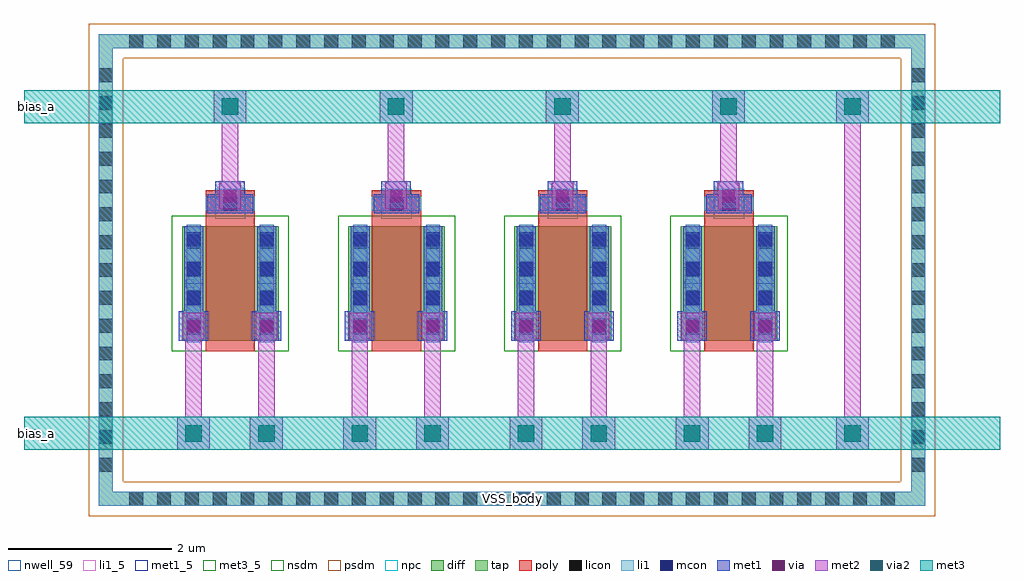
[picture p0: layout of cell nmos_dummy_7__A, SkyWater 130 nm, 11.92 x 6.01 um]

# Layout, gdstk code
import gdstk
lib = gdstk.Library(unit=1e-6, precision=1e-09)
def R(c, l, rs):  # rectangles x0, y0, x1, y1
    for r in rs: c.add(gdstk.rectangle(r[:2], r[2:], *l))
def A(c, l, x, y, w, h, nx, ny, dx, dy):  # array of equal rectangles
    R(c, l, [(x+i*dx, y+j*dy, x+i*dx+w, y+j*dy+h) for i in range(nx) for j in range(ny)])
nwell_59 = (64, 59)
diff = (65, 20)
tap = (65, 44)
poly = (66, 20)
licon = (66, 44)
li1_5 = (67, 5)
li1 = (67, 20)
mcon = (67, 44)
met1_5 = (68, 5)
met1 = (68, 20)
via = (68, 44)
met2 = (69, 20)
via2 = (69, 44)
met3_5 = (70, 5)
met3 = (70, 20)
nsdm = (93, 44)
psdm = (94, 20)
npc = (95, 20)

sky130_fd_pr__nfet_01v8_ = lib.new_cell('sky130_fd_pr__nfet_01v8_RUA5M6')
R(sky130_fd_pr__nfet_01v8_, diff, [(-0.59,-0.855,0.59,0.545)])
R(sky130_fd_pr__nfet_01v8_, poly, [(-0.3,-0.985,0.3,0.985)])
A(sky130_fd_pr__nfet_01v8_, licon, -0.53, -0.75, 0.17, 0.17, 1, 4, 0, 0.34)
A(sky130_fd_pr__nfet_01v8_, licon, 0.36, -0.75, 0.17, 0.17, 1, 4, 0, 0.34)
R(sky130_fd_pr__nfet_01v8_, licon, [(-0.085,0.735,0.085,0.905)])
R(sky130_fd_pr__nfet_01v8_, li1, [(-0.53,-0.875,-0.36,0.565), (0.36,-0.875,0.53,0.565), (-0.3,0.735,0.3,0.905)])
A(sky130_fd_pr__nfet_01v8_, mcon, -0.53, -0.78, 0.17, 0.17, 1, 4, 0, 0.36)
A(sky130_fd_pr__nfet_01v8_, mcon, 0.36, -0.78, 0.17, 0.17, 1, 4, 0, 0.36)
R(sky130_fd_pr__nfet_01v8_, mcon, [(-0.085,0.735,0.085,0.905)])
R(sky130_fd_pr__nfet_01v8_, met1, [(-0.56,-0.855,-0.33,0.545), (0.33,-0.855,0.56,0.545), (-0.28,0.705,0.28,0.935)])
R(sky130_fd_pr__nfet_01v8_, nsdm, [(-0.715,-0.98,0.715,0.67)])
R(sky130_fd_pr__nfet_01v8_, npc, [(-0.185,0.635,0.185,1.005)])
sky130_fd_pr__nfet_01v8_.add(gdstk.Label('D', (-0.445,-0.155), layer=67, texttype=5))
sky130_fd_pr__nfet_01v8_.add(gdstk.Label('S', (0.445,-0.155), layer=67, texttype=5))
sky130_fd_pr__nfet_01v8_.add(gdstk.Label('G', (0,0.82), layer=67, texttype=5))

nfet_01v8_w1p4_l0p6_m4__ = lib.new_cell('nfet_01v8_W1p4_L0p6_m4__nf1_gtop_sdfull_ng')
R(nfet_01v8_w1p4_l0p6_m4__, nwell_59, [(0.05,0.78,0.15,0.88)])
R(nfet_01v8_w1p4_l0p6_m4__, met1_5, [(0.03,0.83,0.26,1.03), (0.92,0.83,1.15,1.03), (0.31,1.69,0.87,1.92)])
R(nfet_01v8_w1p4_l0p6_m4__, met1, [(0.03,0.83,0.26,1.03), (0.92,0.83,1.15,1.03), (0.31,1.69,0.87,1.92)])
nfet_01v8_w1p4_l0p6_m4__.add(gdstk.Reference(sky130_fd_pr__nfet_01v8_, (0.59,0.985)))
nfet_01v8_w1p4_l0p6_m4__.add(gdstk.Label('D', (0.145,0.93), layer=68, texttype=5))
nfet_01v8_w1p4_l0p6_m4__.add(gdstk.Label('S', (1.035,0.93), layer=68, texttype=5))
nfet_01v8_w1p4_l0p6_m4__.add(gdstk.Label('G', (0.59,1.805), layer=68, texttype=5))
nfet_01v8_w1p4_l0p6_m4__.add(gdstk.Label('B', (0.1,0.83), layer=64, texttype=59))

nmos_dummy_7__a = lib.new_cell('nmos_dummy_7__A')
R(nmos_dummy_7__a, tap, [(-0.885,-1.885,9.205,-1.715), (-0.885,-1.715,-0.715,3.705), (9.035,-1.715,9.205,3.705), (-0.885,3.705,9.205,3.875)])
A(nmos_dummy_7__a, licon, -0.515, -1.885, 0.17, 0.17, 28, 2, 0.34, 5.59)
A(nmos_dummy_7__a, licon, -0.885, -1.47, 0.17, 0.17, 1, 15, 0, 0.34)
A(nmos_dummy_7__a, licon, 9.035, -1.47, 0.17, 0.17, 1, 15, 0, 0.34)
R(nmos_dummy_7__a, li1_5, [(4.11,-1.85,4.21,-1.75)])
R(nmos_dummy_7__a, li1, [(-0.885,-1.885,9.205,-1.715), (-0.885,-1.715,-0.715,3.705), (9.035,-1.715,9.205,3.705), (-0.885,3.705,9.205,3.875)])
A(nmos_dummy_7__a, met1, 0.535, 1.72, 0.36, 0.36, 4, 1, 2.03, 0)
R(nmos_dummy_7__a, met1, [(0.09,0.13,0.45,0.49), (0.98,0.13,1.34,0.49), (2.12,0.13,2.48,0.49), (3.01,0.13,3.37,0.49), (4.15,0.13,4.51,0.49), (5.04,0.13,5.4,0.49), (6.18,0.13,6.54,0.49), (7.07,0.13,7.43,0.49)])
A(nmos_dummy_7__a, via, 0.64, 1.825, 0.15, 0.15, 4, 1, 2.03, 0)
R(nmos_dummy_7__a, via, [(0.195,0.235,0.345,0.385), (1.085,0.235,1.235,0.385), (2.225,0.235,2.375,0.385), (3.115,0.235,3.265,0.385), (4.255,0.235,4.405,0.385), (5.145,0.235,5.295,0.385), (6.285,0.235,6.435,0.385), (7.175,0.235,7.325,0.385)])
A(nmos_dummy_7__a, met2, 0.585, 1.74, 0.26, 0.32, 4, 1, 2.03, 0)
A(nmos_dummy_7__a, met2, 0.615, 2.06, 0.2, 0.73, 4, 1, 2.03, 0)
A(nmos_dummy_7__a, met2, 0.515, 2.79, 0.4, 0.4, 4, 1, 2.03, 0)
R(nmos_dummy_7__a, met2, [(0.07,-1.2,0.47,-0.8), (0.96,-1.2,1.36,-0.8), (2.1,-1.2,2.5,-0.8), (2.99,-1.2,3.39,-0.8), (4.13,-1.2,4.53,-0.8), (5.02,-1.2,5.42,-0.8), (6.16,-1.2,6.56,-0.8), (7.05,-1.2,7.45,-0.8), (8.12,-1.2,8.52,-0.8), (0.17,-0.8,0.37,0.15), (1.06,-0.8,1.26,0.15), (2.2,-0.8,2.4,0.15), (3.09,-0.8,3.29,0.15), (4.23,-0.8,4.43,0.15), (5.12,-0.8,5.32,0.15), (6.26,-0.8,6.46,0.15), (7.15,-0.8,7.35,0.15), (8.22,-0.8,8.42,2.79), (0.14,0.15,0.4,0.47), (1.03,0.15,1.29,0.47), (2.17,0.15,2.43,0.47), (3.06,0.15,3.32,0.47), (4.2,0.15,4.46,0.47), (5.09,0.15,5.35,0.47), (6.23,0.15,6.49,0.47), (7.12,0.15,7.38,0.47), (8.12,2.79,8.52,3.19)])
A(nmos_dummy_7__a, via2, 0.615, 2.89, 0.2, 0.2, 4, 1, 2.03, 0)
R(nmos_dummy_7__a, via2, [(0.17,-1.1,0.37,-0.9), (1.06,-1.1,1.26,-0.9), (2.2,-1.1,2.4,-0.9), (3.09,-1.1,3.29,-0.9), (4.23,-1.1,4.43,-0.9), (5.12,-1.1,5.32,-0.9), (6.26,-1.1,6.46,-0.9), (7.15,-1.1,7.35,-0.9), (8.22,-1.1,8.42,-0.9), (8.22,2.89,8.42,3.09)])
R(nmos_dummy_7__a, met3_5, [(-1.7,-1.05,-1.6,-0.95), (-1.7,2.94,-1.6,3.04)])
R(nmos_dummy_7__a, met3, [(-1.8,-1.2,10.12,-0.8), (-1.8,2.79,10.12,3.19)])
R(nmos_dummy_7__a, psdm, [(-1.01,-2.01,9.33,-1.59), (-1.01,-1.59,-0.59,3.58), (8.91,-1.59,9.33,3.58), (-1.01,3.58,9.33,4)])
nmos_dummy_7__a.add(gdstk.Reference(nfet_01v8_w1p4_l0p6_m4__, (6.22,0)))
nmos_dummy_7__a.add(gdstk.Reference(nfet_01v8_w1p4_l0p6_m4__, (4.19,0)))
nmos_dummy_7__a.add(gdstk.Reference(nfet_01v8_w1p4_l0p6_m4__, (2.16,0)))
nmos_dummy_7__a.add(gdstk.Reference(nfet_01v8_w1p4_l0p6_m4__, (0.13,0)))
nmos_dummy_7__a.add(gdstk.Label('bias_a', (-1.65,2.99), layer=70, texttype=5))
nmos_dummy_7__a.add(gdstk.Label('bias_a', (-1.65,-1), layer=70, texttype=5))
nmos_dummy_7__a.add(gdstk.Label('VSS_body', (4.16,-1.8), layer=67, texttype=5))

lib.write_gds('nmos_dummy_7__A.gds')
